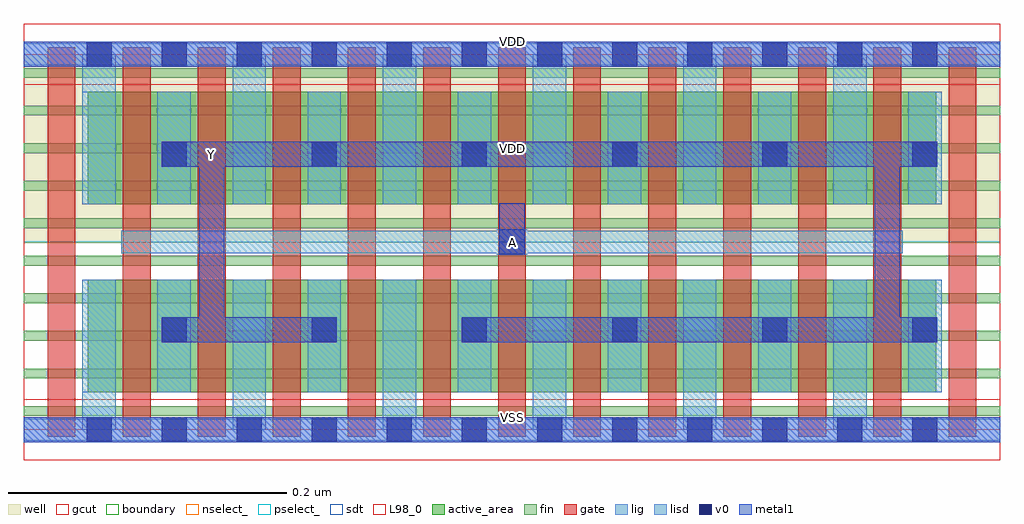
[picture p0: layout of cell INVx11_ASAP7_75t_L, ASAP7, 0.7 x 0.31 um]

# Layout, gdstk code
import gdstk
lib = gdstk.Library(unit=1e-6, precision=2.5e-10)
def R(c, l, rs):  # rectangles x0, y0, x1, y1
    for r in rs: c.add(gdstk.rectangle(r[:2], r[2:], *l))
def A(c, l, x, y, w, h, nx, ny, dx, dy):  # array of equal rectangles
    R(c, l, [(x+i*dx, y+j*dy, x+i*dx+w, y+j*dy+h) for i in range(nx) for j in range(ny)])
def P(c, l, *ps):  # polygons
    for p in ps: c.add(gdstk.Polygon(p, *l))
well = (1, 0)
fin = (2, 0)
gate = (7, 0)
gcut = (10, 0)
active_area = (11, 0)
nselect_ = (12, 0)
pselect_ = (13, 0)
lig = (16, 0)
lisd = (17, 0)
v0 = (18, 0)
metal1 = (19, 0)
sdt = (88, 0)
L98_0 = (98, 0)
boundary = (100, 0)

invx11_asap7_75t_l = lib.new_cell('INVx11_ASAP7_75t_L')
R(invx11_asap7_75t_l, well, [(0,0.135,0.702,0.27)])
A(invx11_asap7_75t_l, fin, 0, 0.01, 0.702, 0.007, 1, 10, 0, 0.027)
A(invx11_asap7_75t_l, gate, 0.017, -0.005, 0.02, 0.28, 13, 1, 0.054, 0)
R(invx11_asap7_75t_l, gcut, [(0,-0.022,0.702,0.022), (0,0.248,0.702,0.292)])
R(invx11_asap7_75t_l, active_area, [(0.046,0.027,0.656,0.108), (0.046,0.162,0.656,0.243)])
R(invx11_asap7_75t_l, nselect_, [(0,0,0.702,0.135)])
R(invx11_asap7_75t_l, pselect_, [(0,0.135,0.702,0.27)])
R(invx11_asap7_75t_l, lig, [(0,-0.008,0.702,0.008), (0.34,0.126,0.362,0.144), (0.07,0.127,0.632,0.143), (0,0.262,0.702,0.278)])
A(invx11_asap7_75t_l, lisd, 0.096, 0.027, 0.024, 0.081, 6, 2, 0.108, 0.135)
R(invx11_asap7_75t_l, lisd, [(0.042,0,0.066,0.108), (0.042,0,0.066,0.108), (0.15,0,0.174,0.108), (0.15,0,0.174,0.108), (0.258,0,0.282,0.108), (0.258,0,0.282,0.108), (0.366,0,0.39,0.108), (0.366,0,0.39,0.108), (0.474,0,0.498,0.108), (0.474,0,0.498,0.108), (0.582,0,0.606,0.108), (0.582,0,0.606,0.108), (0.042,0.162,0.066,0.27), (0.042,0.162,0.066,0.27), (0.15,0.162,0.174,0.27), (0.15,0.162,0.174,0.27), (0.258,0.162,0.282,0.27), (0.258,0.162,0.282,0.27), (0.366,0.162,0.39,0.27), (0.366,0.162,0.39,0.27), (0.474,0.162,0.498,0.27), (0.474,0.162,0.498,0.27), (0.582,0.162,0.606,0.27), (0.582,0.162,0.606,0.27)])
A(invx11_asap7_75t_l, v0, 0.045, -0.009, 0.018, 0.018, 12, 2, 0.054, 0.27)
A(invx11_asap7_75t_l, v0, 0.099, 0.063, 0.018, 0.018, 6, 2, 0.108, 0.126)
R(invx11_asap7_75t_l, v0, [(0.342,0.126,0.36,0.144)])
A(invx11_asap7_75t_l, metal1, 0.099, 0.063, 0.018, 0.018, 6, 2, 0.108, 0.126)
R(invx11_asap7_75t_l, metal1, [(0,-0.009,0.702,0.009), (0.342,0.126,0.36,0.144), (0.342,0.126,0.36,0.163), (0,0.261,0.702,0.279)])
P(invx11_asap7_75t_l, metal1, [(0.315,0.081),(0.315,0.063),(0.657,0.063),(0.657,0.081),(0.63,0.081),(0.63,0.189),(0.657,0.189),(0.657,0.207),(0.099,0.207),(0.099,0.189),(0.126,0.189),(0.126,0.081),(0.099,0.081),(0.099,0.063),(0.225,0.063),(0.225,0.081),(0.144,0.081),(0.144,0.189),(0.612,0.189),(0.612,0.081)])
A(invx11_asap7_75t_l, sdt, 0.042, 0.027, 0.024, 0.081, 3, 2, 0.054, 0.135)
A(invx11_asap7_75t_l, sdt, 0.15, 0.027, 0.024, 0.081, 3, 2, 0.054, 0.135)
A(invx11_asap7_75t_l, sdt, 0.258, 0.027, 0.024, 0.081, 3, 2, 0.054, 0.135)
A(invx11_asap7_75t_l, sdt, 0.366, 0.027, 0.024, 0.081, 3, 2, 0.054, 0.135)
A(invx11_asap7_75t_l, sdt, 0.474, 0.027, 0.024, 0.081, 3, 2, 0.054, 0.135)
R(invx11_asap7_75t_l, sdt, [(0.042,0.027,0.066,0.108), (0.582,0.027,0.606,0.108), (0.636,0.027,0.66,0.108), (0.042,0.162,0.066,0.243), (0.582,0.162,0.606,0.243), (0.636,0.162,0.66,0.243)])
R(invx11_asap7_75t_l, L98_0, [(0,0,0.702,0.27)])
R(invx11_asap7_75t_l, boundary, [(0,0,0.702,0.27)])
invx11_asap7_75t_l.add(gdstk.Label('VDD', (0.351,0.2025), layer=1, texttype=251))
invx11_asap7_75t_l.add(gdstk.Label('VSS', (0.351,-0.0675), layer=3, texttype=251))
invx11_asap7_75t_l.add(gdstk.Label('VSS', (0.351,0.009), layer=19, texttype=251))
invx11_asap7_75t_l.add(gdstk.Label('VDD', (0.351,0.279), layer=19, texttype=251))
invx11_asap7_75t_l.add(gdstk.Label('A', (0.351,0.135), layer=19, texttype=251))
invx11_asap7_75t_l.add(gdstk.Label('Y', (0.135,0.198), layer=19, texttype=251))

lib.write_gds('INVx11_ASAP7_75t_L.gds')
